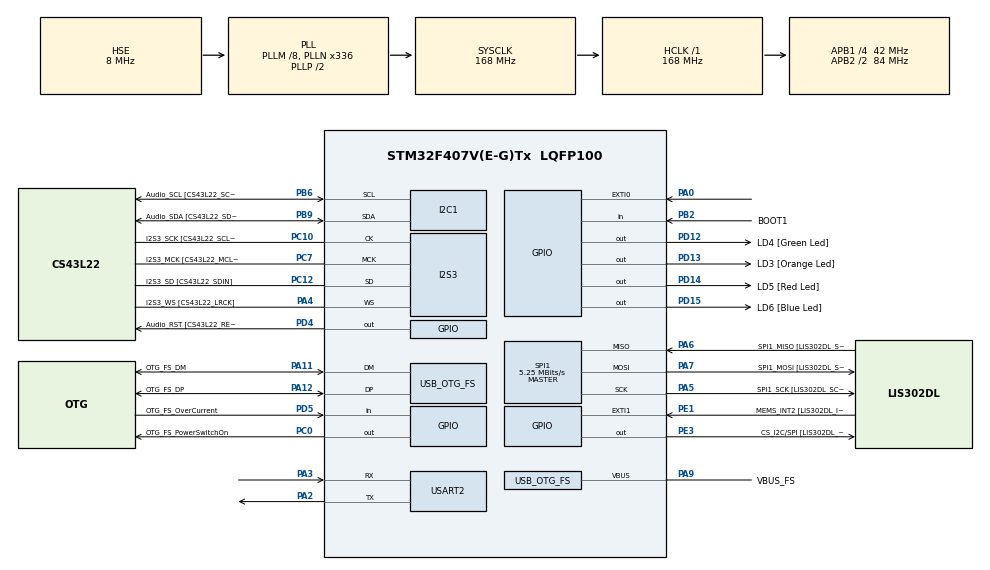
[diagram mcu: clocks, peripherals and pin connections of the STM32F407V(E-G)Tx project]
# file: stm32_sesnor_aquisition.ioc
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ADC1.Channel-2\#ChannelRegularConversion=ADC_CHANNEL_TEMPSENSOR
ADC1.NbrOfConversionFlag=1
ADC1.Rank-2\#ChannelRegularConversion=1
ADC1.SamplingTime-2\#ChannelRegularConversion=ADC_SAMPLETIME_480CYCLES
ADC1.master=1
FREERTOS.Tasks01=DisplayTask,0,512,StartDisplayTask,Default,NULL,Dynamic,NULL,NULL;SensorTask,1,256,StartTSensorTask,Default,NULL,Dynamic,NULL,NULL
I2S3.AudioFreq-Half_Duplex_Master=I2S_AUDIOFREQ_96K
I2S3.ErrorAudioFreq=-2.34 %
I2S3.ErrorAudioFreq-Half_Duplex_Master=0.8 %
I2S3.FullDuplexMode=I2S_FULLDUPLEXMODE_DISABLE
I2S3.Instance=SPI$Index
I2S3.RealAudioFreq=93.75 KHz
I2S3.RealAudioFreq-Half_Duplex_Master=96.774 KHz
I2S3.VirtualMode=I2S_MODE_MASTER
Mcu.Family=STM32F4
Mcu.Name=STM32F407V(E-G)Tx
Mcu.Package=LQFP100
NVIC.EXTI0_IRQn=true\:5\:0\:false\:false\:true\:true\:true\:true\:true
NVIC.OTG_FS_IRQn=true\:5\:0\:false\:false\:true\:true\:true\:true\:true
NVIC.PriorityGroup=NVIC_PRIORITYGROUP_4
NVIC.TIM2_IRQn=true\:5\:0\:false\:false\:true\:true\:true\:true\:true
NVIC.USART2_IRQn=true\:5\:0\:false\:false\:true\:true\:true\:true\:true
PA0-WKUP.Signal=GPXTI0
PA10.GPIO_Label=OTG_FS_ID
PA10.GPIO_Mode=GPIO_MODE_AF_PP
PA10.GPIO_PuPd=GPIO_NOPULL
PA10.GPIO_Speed=GPIO_SPEED_FREQ_LOW
PA10.Signal=USB_OTG_FS_ID
PA11.GPIO_Label=OTG_FS_DM
PA11.GPIO_Mode=GPIO_MODE_AF_PP
PA11.GPIO_PuPd=GPIO_NOPULL
PA11.GPIO_Speed=GPIO_SPEED_FREQ_LOW
PA11.Mode=Host_Only
PA11.Signal=USB_OTG_FS_DM
PA12.GPIO_Label=OTG_FS_DP
PA12.GPIO_Mode=GPIO_MODE_AF_PP
PA12.GPIO_PuPd=GPIO_NOPULL
PA12.GPIO_Speed=GPIO_SPEED_FREQ_LOW
PA12.Mode=Host_Only
PA12.Signal=USB_OTG_FS_DP
PA13.GPIO_Label=SWDIO
PA13.Mode=Serial_Wire
PA13.Signal=SYS_JTMS-SWDIO
PA14.GPIO_Label=SWCLK
PA14.Mode=Serial_Wire
PA14.Signal=SYS_JTCK-SWCLK
PA2.Mode=Asynchronous
PA2.Signal=USART2_TX
PA3.Mode=Asynchronous
PA3.Signal=USART2_RX
PA4.GPIO_Label=I2S3_WS [CS43L22_LRCK]
PA4.GPIO_Mode=GPIO_MODE_AF_PP
PA4.GPIO_PuPd=GPIO_NOPULL
PA4.GPIO_Speed=GPIO_SPEED_FREQ_LOW
PA4.Mode=Half_Duplex_Master
PA4.Signal=I2S3_WS
PA5.GPIO_Label=SPI1_SCK [LIS302DL_SCL/SPC]
PA5.GPIO_Mode=GPIO_MODE_AF_PP
PA5.GPIO_PuPd=GPIO_NOPULL
PA5.GPIO_Speed=GPIO_SPEED_FREQ_LOW
PA5.Mode=Full_Duplex_Master
PA5.Signal=SPI1_SCK
PA6.GPIO_Label=SPI1_MISO [LIS302DL_SDO]
PA6.GPIO_Mode=GPIO_MODE_AF_PP
PA6.GPIO_PuPd=GPIO_NOPULL
PA6.GPIO_Speed=GPIO_SPEED_FREQ_LOW
PA6.Mode=Full_Duplex_Master
PA6.Signal=SPI1_MISO
PA7.GPIO_Label=SPI1_MOSI [LIS302DL_SDA/SDI/SDO]
PA7.GPIO_Mode=GPIO_MODE_AF_PP
PA7.GPIO_PuPd=GPIO_NOPULL
PA7.GPIO_Speed=GPIO_SPEED_FREQ_LOW
PA7.Mode=Full_Duplex_Master
PA7.Signal=SPI1_MOSI
PA9.GPIO_Label=VBUS_FS
PA9.GPIO_Mode=GPIO_MODE_INPUT
PA9.GPIO_PuPd=GPIO_NOPULL
PA9.Mode=Activate_VBUS
PA9.Signal=USB_OTG_FS_VBUS
PB10.GPIO_Label=CLK_IN [MP45DT02_CLK]
PB10.GPIO_Mode=GPIO_MODE_AF_PP
PB10.GPIO_PuPd=GPIO_NOPULL
PB10.GPIO_Speed=GPIO_SPEED_FREQ_LOW
PB10.Signal=I2S2_CK
PB2.GPIO_Label=BOOT1
PB2.GPIO_Mode=GPIO_MODE_INPUT
PB2.GPIO_PuPd=GPIO_NOPULL
PB2.Signal=GPIO_Input
PB3.GPIO_Label=SWO
PB3.Signal=SYS_JTDO-SWO
PB6.GPIO_Label=Audio_SCL [CS43L22_SCL]
PB6.GPIO_Mode=GPIO_MODE_AF_OD
PB6.GPIO_Pu=GPIO_PULLUP
PB6.GPIO_PuPd=GPIO_NOPULL
PB6.GPIO_Speed=GPIO_SPEED_FREQ_LOW
PB6.Mode=I2C
PB6.Signal=I2C1_SCL
PB9.GPIO_Label=Audio_SDA [CS43L22_SDA]
PB9.GPIO_Mode=GPIO_MODE_AF_OD
PB9.GPIO_Pu=GPIO_PULLUP
PB9.GPIO_PuPd=GPIO_NOPULL
PB9.GPIO_Speed=GPIO_SPEED_FREQ_LOW
PB9.Mode=I2C
PB9.Signal=I2C1_SDA
PC0.GPIO_Label=OTG_FS_PowerSwitchOn
PC0.GPIO_PuPd=GPIO_NOPULL
PC0.GPIO_Speed=GPIO_SPEED_FREQ_LOW
PC0.PinState=GPIO_PIN_SET
PC0.Signal=GPIO_Output
PC10.GPIO_Label=I2S3_SCK [CS43L22_SCLK]
PC10.GPIO_Mode=GPIO_MODE_AF_PP
PC10.GPIO_PuPd=GPIO_NOPULL
PC10.GPIO_Speed=GPIO_SPEED_FREQ_LOW
PC10.Mode=Half_Duplex_Master
PC10.Signal=I2S3_CK
PC12.GPIO_Label=I2S3_SD [CS43L22_SDIN]
PC12.GPIO_Mode=GPIO_MODE_AF_PP
PC12.GPIO_PuPd=GPIO_NOPULL
PC12.GPIO_Speed=GPIO_SPEED_FREQ_LOW
PC12.Mode=Half_Duplex_Master
PC12.Signal=I2S3_SD
PC14-OSC32_IN.GPIO_Label=PC14-OSC32_IN
PC14-OSC32_IN.Mode=LSE-External-Oscillator
PC14-OSC32_IN.Signal=RCC_OSC32_IN
PC15-OSC32_OUT.GPIO_Label=PC15-OSC32_OUT
PC15-OSC32_OUT.Mode=LSE-External-Oscillator
PC15-OSC32_OUT.Signal=RCC_OSC32_OUT
PC3.GPIO_Label=PDM_OUT [MP45DT02_DOUT]
PC3.GPIO_Mode=GPIO_MODE_AF_PP
PC3.GPIO_PuPd=GPIO_NOPULL
PC3.GPIO_Speed=GPIO_SPEED_FREQ_LOW
PC3.Signal=I2S2_SD
PC7.GPIO_Label=I2S3_MCK [CS43L22_MCLK]
PC7.GPIO_Mode=GPIO_MODE_AF_PP
PC7.GPIO_PuPd=GPIO_NOPULL
PC7.GPIO_Speed=GPIO_SPEED_FREQ_LOW
PC7.Mode=Master_Clock_Activated
PC7.Signal=I2S3_MCK
PD12.GPIO_Label=LD4 [Green Led]
PD12.GPIO_PuPd=GPIO_NOPULL
PD12.GPIO_Speed=GPIO_SPEED_FREQ_LOW
PD12.Signal=GPIO_Output
PD13.GPIO_Label=LD3 [Orange Led]
PD13.GPIO_PuPd=GPIO_NOPULL
PD13.GPIO_Speed=GPIO_SPEED_FREQ_LOW
PD13.Signal=GPIO_Output
PD14.GPIO_Label=LD5 [Red Led]
PD14.GPIO_PuPd=GPIO_NOPULL
PD14.GPIO_Speed=GPIO_SPEED_FREQ_LOW
PD14.Signal=GPIO_Output
PD15.GPIO_Label=LD6 [Blue Led]
PD15.GPIO_PuPd=GPIO_NOPULL
PD15.GPIO_Speed=GPIO_SPEED_FREQ_LOW
PD15.Signal=GPIO_Output
PD4.GPIO_Label=Audio_RST [CS43L22_RESET]
PD4.GPIO_PuPd=GPIO_NOPULL
PD4.GPIO_Speed=GPIO_SPEED_FREQ_LOW
PD4.Signal=GPIO_Output
PD5.GPIO_Label=OTG_FS_OverCurrent
PD5.GPIO_Mode=GPIO_MODE_INPUT
PD5.GPIO_PuPd=GPIO_NOPULL
PD5.Signal=GPIO_Input
PE1.GPIO_Label=MEMS_INT2 [LIS302DL_INT2]
PE1.GPIO_ModeDefaultEXTI=GPIO_MODE_EVT_RISING
PE1.GPIO_PuPd=GPIO_NOPULL
PE1.Signal=GPXTI1
PE3.GPIO_Label=CS_I2C/SPI [LIS302DL_CS_I2C/SPI]
PE3.GPIO_PuPd=GPIO_NOPULL
PE3.GPIO_Speed=GPIO_SPEED_FREQ_LOW
PE3.Signal=GPIO_Output
PH0-OSC_IN.GPIO_Label=PH0-OSC_IN
PH0-OSC_IN.Mode=HSE-External-Oscillator
PH0-OSC_IN.Signal=RCC_OSC_IN
PH1-OSC_OUT.GPIO_Label=PH1-OSC_OUT
PH1-OSC_OUT.Mode=HSE-External-Oscillator
PH1-OSC_OUT.Signal=RCC_OSC_OUT
ProjectManager.HeapSize=0x200
ProjectManager.StackSize=0x400
ProjectManager.TargetToolchain=STM32CubeIDE
RCC.48MHZClocksFreq_Value=48000000
RCC.AHBFreq_Value=168000000
RCC.APB1CLKDivider=RCC_HCLK_DIV4
RCC.APB1Freq_Value=42000000
RCC.APB1TimFreq_Value=84000000
RCC.APB2CLKDivider=RCC_HCLK_DIV2
RCC.APB2Freq_Value=84000000
RCC.APB2TimFreq_Value=168000000
RCC.CortexFreq_Value=168000000
RCC.HCLKFreq_Value=168000000
RCC.HSE_VALUE=8000000
RCC.HSI_VALUE=16000000
RCC.PLLM=8
RCC.PLLN=336
RCC.PLLQ=7
RCC.SYSCLKFreq_VALUE=168000000
RCC.SYSCLKSource=RCC_SYSCLKSOURCE_PLLCLK
RCC.VCOOutputFreq_Value=336000000
SPI1.BaudRatePrescaler=SPI_BAUDRATEPRESCALER_16
SPI1.BaudRatePrescaler-Full_Duplex_Master=SPI_BAUDRATEPRESCALER_2
SPI1.CalculateBaudRate=5.25 MBits/s
SPI1.CalculateBaudRate-Full_Duplex_Master=42.0 MBits/s
SPI1.Direction=SPI_DIRECTION_2LINES
SPI1.Mode=SPI_MODE_MASTER
SPI1.Mode-Full_Duplex_Master=SPI_MODE_MASTER
SPI1.VirtualType=VM_MASTER
TIM2.Period=9999
TIM2.Prescaler=8399
USART2.VirtualMode=VM_ASYNC
USB_HOST.BSP.number=1
USB_HOST.USBH_HandleTypeDef-CDC_FS=hUsbHostFS
USB_HOST.USBH_USE_OS-CDC_FS=0
USB_HOST.VirtualModeFS=Cdc
USB_HOST0.BSP.STBoard=false
USB_HOST0.BSP.api=Unknown
USB_HOST0.BSP.instance=PC0
USB_HOST0.BSP.ip=GPIO
USB_HOST0.BSP.mode=Output
USB_HOST0.BSP.name=Drive_VBUS_FS
USB_HOST0.BSP.solution=PC0
USB_OTG_FS.VirtualMode=Host_Only
USB_OTG_FS.phy_itface=HCD_PHY_EMBEDDED
VP_ADC1_TempSens_Input.Mode=IN-TempSens
VP_FREERTOS_VS_CMSIS_V1.Mode=CMSIS_V1
VP_TIM2_VS_ClockSourceINT.Mode=Internal
VP_USB_HOST_VS_USB_HOST_CDC_FS.Mode=CDC_FS
board=STM32F407G-DISC1

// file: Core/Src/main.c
/* USER CODE BEGIN Header */
/**
  ******************************************************************************
  * @file           : main.c
  * @brief          : Main program body
  ******************************************************************************
  * @attention
  *
  * Copyright (c) 2026 STMicroelectronics.
  * All rights reserved.
  *
  * This software is licensed under terms that can be found in the LICENSE file
  * in the root directory of this software component.
  * If no LICENSE file comes with this software, it is provided AS-IS.
  *
  ******************************************************************************
  */
/* USER CODE END Header */
#include "main.h"
#include "cmsis_os.h"
#include "usb_host.h"

/* USER CODE BEGIN Includes */
#include "string.h"
#include "stdio.h"
#include "stdbool.h"
#include "cJSON.h"
/* USER CODE END Includes */

/* USER CODE BEGIN PTD */
typedef struct{
	uint32_t timestamp;
	float temperature;
	float accel_x;
	float accel_y;
	float accel_z;
	uint8_t status;
} sensor_reading_t;

#define BUFFER_SIZE 10

typedef struct{
	sensor_reading_t readings[BUFFER_SIZE];
	uint8_t head;
	uint8_t tail;
	uint8_t count;
} circular_buffer_t;
/* USER CODE END PTD */

ADC_HandleTypeDef hadc1;

I2C_HandleTypeDef hi2c1;

I2S_HandleTypeDef hi2s3;

SPI_HandleTypeDef hspi1;

TIM_HandleTypeDef htim2;

UART_HandleTypeDef huart2;

osThreadId DisplayTaskHandle;
osThreadId SensorTaskHandle;
/* USER CODE BEGIN PV */
volatile uint32_t last_button_press = 0;
volatile uint32_t seconds_elapsed = 0;
circular_buffer_t sensor_buffer;
volatile uint8_t system_status;
osMessageQId sensorQueueHandle;
/* USER CODE END PV */

void SystemClock_Config(void);
static void MX_GPIO_Init(void);
static void MX_I2C1_Init(void);
static void MX_I2S3_Init(void);
static void MX_SPI1_Init(void);
static void MX_USART2_UART_Init(void);
static void MX_TIM2_Init(void);
static void MX_ADC1_Init(void);
void StartDisplayTask(void const * argument);
void StartTSensorTask(void const * argument);

/* USER CODE BEGIN PFP */
void led_green_on(void);
void led_green_off(void);
void led_green_toggle(void);
void led_orange_on(void);
void led_orange_off(void);
void led_orange_toggle(void);
void led_red_on(void);
void led_red_off(void);
void led_red_toggle(void);
void led_blue_on(void);
void led_blue_off(void);
void led_blue_toggle(void);
void led_all_off(void);
void uart_send_string(char*str);
void HAL_TIM_PeriodElapsedCallback(TIM_HandleTypeDef *htim);
uint8_t spi_read_register(uint8_t reg_addr);
void spi_write_register(uint8_t reg_addr, uint8_t value);
void read_accelerometer(float *ax, float *ay, float *az);
float read_temperature(void);
void buffer_init(circular_buffer_t *buf);
bool buffer_is_full(circular_buffer_t *buf);
bool buffer_is_empty(circular_buffer_t *buf);
bool buffer_push(circular_buffer_t *buf, sensor_reading_t *reading);
bool buffer_pop(circular_buffer_t *buf, sensor_reading_t *reading);
/* USER CODE END PFP */

int main(void)
{

  /* MCU Configuration--------------------------------------------------------*/

  /* Reset of all peripherals, Initializes the Flash interface and the Systick. */
  HAL_Init();

  /* Configure the system clock */
  SystemClock_Config();

  /* Initialize all configured peripherals */
  MX_GPIO_Init();
  MX_I2C1_Init();
  MX_I2S3_Init();
  MX_SPI1_Init();
  MX_USART2_UART_Init();
  MX_TIM2_Init();
  MX_ADC1_Init();
  /* USER CODE BEGIN 2 */
  HAL_TIM_Base_Start_IT(&htim2);
  buffer_init(&sensor_buffer);

  uint8_t who_am_i = spi_read_register(0x0F);
  if(who_am_i == 0x3F)
  {
	  //led_green_on();
  }
  else
  {
	  //led_red_on();
  }
  spi_write_register(0x20, 0x67);

  float temp = read_temperature();
  if (temp > 5.0f && temp < 50.0f) {
      led_blue_on();
  } else {
      led_red_on();
  }
  HAL_Delay(1000);

  /* USER CODE END 2 */

  /* USER CODE BEGIN RTOS_QUEUES */
  osMessageQDef(sensorQueue, 10, sesnor_reading_t);
  sensorQueueHandle = osMessageCreate(osMessageQ(sensorQueue), NULL);
  /* USER CODE END RTOS_QUEUES */

  /* Create the thread(s) */
  /* definition and creation of DisplayTask */
  osThreadDef(DisplayTask, StartDisplayTask, osPriorityNormal, 0, 512);
  DisplayTaskHandle = osThreadCreate(osThread(DisplayTask), NULL);

  /* definition and creation of SensorTask */
  osThreadDef(SensorTask, StartTSensorTask, osPriorityAboveNormal, 0, 256);
  SensorTaskHandle = osThreadCreate(osThread(SensorTask), NULL);

  /* Start scheduler */
  osKernelStart();
  /* We should never get here as control is now taken by the scheduler */
  /* Infinite loop */
  /* USER CODE BEGIN WHILE */
  while (1)
  {
	  float ax, ay, az;
	  read_accelerometer(&ax, &ay, &az);
	  if (az > 0.8f) {
	      //led_blue_on();   // board is flat — Z near 1g
	  } else {
	      //led_blue_off();  // board is tilted
	  }
    /* USER CODE END WHILE */

  }
}

void SystemClock_Config(void)
{
  RCC_OscInitTypeDef RCC_OscInitStruct = {0};
  RCC_ClkInitTypeDef RCC_ClkInitStruct = {0};

  /** Configure the main internal regulator output voltage
  */
  __HAL_RCC_PWR_CLK_ENABLE();
  __HAL_PWR_VOLTAGESCALING_CONFIG(PWR_REGULATOR_VOLTAGE_SCALE1);

  /** Initializes the RCC Oscillators according to the specified parameters
  * in the RCC_OscInitTypeDef structure.
  */
  RCC_OscInitStruct.OscillatorType = RCC_OSCILLATORTYPE_HSE;
  RCC_OscInitStruct.HSEState = RCC_HSE_ON;
  RCC_OscInitStruct.PLL.PLLState = RCC_PLL_ON;
  RCC_OscInitStruct.PLL.PLLSource = RCC_PLLSOURCE_HSE;
  RCC_OscInitStruct.PLL.PLLM = 8;
  RCC_OscInitStruct.PLL.PLLN = 336;
  RCC_OscInitStruct.PLL.PLLP = RCC_PLLP_DIV2;
  RCC_OscInitStruct.PLL.PLLQ = 7;
  if (HAL_RCC_OscConfig(&RCC_OscInitStruct) != HAL_OK)
  {
    Error_Handler();
  }

  /** Initializes the CPU, AHB and APB buses clocks
  */
  RCC_ClkInitStruct.ClockType = RCC_CLOCKTYPE_HCLK|RCC_CLOCKTYPE_SYSCLK
                              |RCC_CLOCKTYPE_PCLK1|RCC_CLOCKTYPE_PCLK2;
  RCC_ClkInitStruct.SYSCLKSource = RCC_SYSCLKSOURCE_PLLCLK;
  RCC_ClkInitStruct.AHBCLKDivider = RCC_SYSCLK_DIV1;
  RCC_ClkInitStruct.APB1CLKDivider = RCC_HCLK_DIV4;
  RCC_ClkInitStruct.APB2CLKDivider = RCC_HCLK_DIV2;

  if (HAL_RCC_ClockConfig(&RCC_ClkInitStruct, FLASH_LATENCY_5) != HAL_OK)
  {
    Error_Handler();
  }
}

static void MX_ADC1_Init(void)
{

  ADC_ChannelConfTypeDef sConfig = {0};

  /** Configure the global features of the ADC (Clock, Resolution, Data Alignment and number of conversion)
  */
  hadc1.Instance = ADC1;
  hadc1.Init.ClockPrescaler = ADC_CLOCK_SYNC_PCLK_DIV4;
  hadc1.Init.Resolution = ADC_RESOLUTION_12B;
  hadc1.Init.ScanConvMode = DISABLE;
  hadc1.Init.ContinuousConvMode = DISABLE;
  hadc1.Init.DiscontinuousConvMode = DISABLE;
  hadc1.Init.ExternalTrigConvEdge = ADC_EXTERNALTRIGCONVEDGE_NONE;
  hadc1.Init.ExternalTrigConv = ADC_SOFTWARE_START;
  hadc1.Init.DataAlign = ADC_DATAALIGN_RIGHT;
  hadc1.Init.NbrOfConversion = 1;
  hadc1.Init.DMAContinuousRequests = DISABLE;
  hadc1.Init.EOCSelection = ADC_EOC_SINGLE_CONV;
  if (HAL_ADC_Init(&hadc1) != HAL_OK)
  {
    Error_Handler();
  }

  /** Configure for the selected ADC regular channel its corresponding rank in the sequencer and its sample time.
  */
  sConfig.Channel = ADC_CHANNEL_TEMPSENSOR;
  sConfig.Rank = 1;
  sConfig.SamplingTime = ADC_SAMPLETIME_480CYCLES;
  if (HAL_ADC_ConfigChannel(&hadc1, &sConfig) != HAL_OK)
  {
    Error_Handler();
  }

}

static void MX_I2C1_Init(void)
{

  hi2c1.Instance = I2C1;
  hi2c1.Init.ClockSpeed = 100000;
  hi2c1.Init.DutyCycle = I2C_DUTYCYCLE_2;
  hi2c1.Init.OwnAddress1 = 0;
  hi2c1.Init.AddressingMode = I2C_ADDRESSINGMODE_7BIT;
  hi2c1.Init.DualAddressMode = I2C_DUALADDRESS_DISABLE;
  hi2c1.Init.OwnAddress2 = 0;
  hi2c1.Init.GeneralCallMode = I2C_GENERALCALL_DISABLE;
  hi2c1.Init.NoStretchMode = I2C_NOSTRETCH_DISABLE;
  if (HAL_I2C_Init(&hi2c1) != HAL_OK)
  {
    Error_Handler();
  }

}

static void MX_I2S3_Init(void)
{

  hi2s3.Instance = SPI3;
  hi2s3.Init.Mode = I2S_MODE_MASTER_TX;
  hi2s3.Init.Standard = I2S_STANDARD_PHILIPS;
  hi2s3.Init.DataFormat = I2S_DATAFORMAT_16B;
  hi2s3.Init.MCLKOutput = I2S_MCLKOUTPUT_ENABLE;
  hi2s3.Init.AudioFreq = I2S_AUDIOFREQ_96K;
  hi2s3.Init.CPOL = I2S_CPOL_LOW;
  hi2s3.Init.ClockSource = I2S_CLOCK_PLL;
  hi2s3.Init.FullDuplexMode = I2S_FULLDUPLEXMODE_DISABLE;
  if (HAL_I2S_Init(&hi2s3) != HAL_OK)
  {
    Error_Handler();
  }

}

static void MX_SPI1_Init(void)
{

  /* SPI1 parameter configuration*/
  hspi1.Instance = SPI1;
  hspi1.Init.Mode = SPI_MODE_MASTER;
  hspi1.Init.Direction = SPI_DIRECTION_2LINES;
  hspi1.Init.DataSize = SPI_DATASIZE_8BIT;
  hspi1.Init.CLKPolarity = SPI_POLARITY_LOW;
  hspi1.Init.CLKPhase = SPI_PHASE_1EDGE;
  hspi1.Init.NSS = SPI_NSS_SOFT;
  hspi1.Init.BaudRatePrescaler = SPI_BAUDRATEPRESCALER_16;
  hspi1.Init.FirstBit = SPI_FIRSTBIT_MSB;
  hspi1.Init.TIMode = SPI_TIMODE_DISABLE;
  hspi1.Init.CRCCalculation = SPI_CRCCALCULATION_DISABLE;
  hspi1.Init.CRCPolynomial = 10;
  if (HAL_SPI_Init(&hspi1) != HAL_OK)
  {
    Error_Handler();
  }

}

static void MX_TIM2_Init(void)
{

  TIM_ClockConfigTypeDef sClockSourceConfig = {0};
  TIM_MasterConfigTypeDef sMasterConfig = {0};

  htim2.Instance = TIM2;
  htim2.Init.Prescaler = 8399;
  htim2.Init.CounterMode = TIM_COUNTERMODE_UP;
  htim2.Init.Period = 9999;
  htim2.Init.ClockDivision = TIM_CLOCKDIVISION_DIV1;
  htim2.Init.AutoReloadPreload = TIM_AUTORELOAD_PRELOAD_DISABLE;
  if (HAL_TIM_Base_Init(&htim2) != HAL_OK)
  {
    Error_Handler();
  }
  sClockSourceConfig.ClockSource = TIM_CLOCKSOURCE_INTERNAL;
  if (HAL_TIM_ConfigClockSource(&htim2, &sClockSourceConfig) != HAL_OK)
  {
    Error_Handler();
  }
  sMasterConfig.MasterOutputTrigger = TIM_TRGO_RESET;
  sMasterConfig.MasterSlaveMode = TIM_MASTERSLAVEMODE_DISABLE;
  if (HAL_TIMEx_MasterConfigSynchronization(&htim2, &sMasterConfig) != HAL_OK)
  {
    Error_Handler();
  }

}

static void MX_USART2_UART_Init(void)
{

  huart2.Instance = USART2;
  huart2.Init.BaudRate = 115200;
  huart2.Init.WordLength = UART_WORDLENGTH_8B;
  huart2.Init.StopBits = UART_STOPBITS_1;
  huart2.Init.Parity = UART_PARITY_NONE;
  huart2.Init.Mode = UART_MODE_TX_RX;
  huart2.Init.HwFlowCtl = UART_HWCONTROL_NONE;
  huart2.Init.OverSampling = UART_OVERSAMPLING_16;
  if (HAL_UART_Init(&huart2) != HAL_OK)
  {
    Error_Handler();
  }

}

static void MX_GPIO_Init(void)
{
  GPIO_InitTypeDef GPIO_InitStruct = {0};

  /* GPIO Ports Clock Enable */
  __HAL_RCC_GPIOE_CLK_ENABLE();
  __HAL_RCC_GPIOC_CLK_ENABLE();
  __HAL_RCC_GPIOH_CLK_ENABLE();
  __HAL_RCC_GPIOA_CLK_ENABLE();
  __HAL_RCC_GPIOB_CLK_ENABLE();
  __HAL_RCC_GPIOD_CLK_ENABLE();

  /*Configure GPIO pin Output Level */
  HAL_GPIO_WritePin(CS_I2C_SPI_GPIO_Port, CS_I2C_SPI_Pin, GPIO_PIN_RESET);

  /*Configure GPIO pin Output Level */
  HAL_GPIO_WritePin(OTG_FS_PowerSwitchOn_GPIO_Port, OTG_FS_PowerSwitchOn_Pin, GPIO_PIN_SET);

  /*Configure GPIO pin Output Level */
  HAL_GPIO_WritePin(GPIOD, LD4_Pin|LD3_Pin|LD5_Pin|LD6_Pin
                          |Audio_RST_Pin, GPIO_PIN_RESET);

  /*Configure GPIO pin : CS_I2C_SPI_Pin */
  GPIO_InitStruct.Pin = CS_I2C_SPI_Pin;
  GPIO_InitStruct.Mode = GPIO_MODE_OUTPUT_PP;
  GPIO_InitStruct.Pull = GPIO_NOPULL;
  GPIO_InitStruct.Speed = GPIO_SPEED_FREQ_LOW;
  HAL_GPIO_Init(CS_I2C_SPI_GPIO_Port, &GPIO_InitStruct);

  /*Configure GPIO pin : OTG_FS_PowerSwitchOn_Pin */
  GPIO_InitStruct.Pin = OTG_FS_PowerSwitchOn_Pin;
  GPIO_InitStruct.Mode = GPIO_MODE_OUTPUT_PP;
  GPIO_InitStruct.Pull = GPIO_NOPULL;
  GPIO_InitStruct.Speed = GPIO_SPEED_FREQ_LOW;
  HAL_GPIO_Init(OTG_FS_PowerSwitchOn_GPIO_Port, &GPIO_InitStruct);

  /*Configure GPIO pin : PDM_OUT_Pin */
  GPIO_InitStruct.Pin = PDM_OUT_Pin;
  GPIO_InitStruct.Mode = GPIO_MODE_AF_PP;
  GPIO_InitStruct.Pull = GPIO_NOPULL;
  GPIO_InitStruct.Speed = GPIO_SPEED_FREQ_LOW;
  GPIO_InitStruct.Alternate = GPIO_AF5_SPI2;
  HAL_GPIO_Init(PDM_OUT_GPIO_Port, &GPIO_InitStruct);

  /*Configure GPIO pin : PA0 */
  GPIO_InitStruct.Pin = GPIO_PIN_0;
  GPIO_InitStruct.Mode = GPIO_MODE_IT_RISING;
  GPIO_InitStruct.Pull = GPIO_NOPULL;
  HAL_GPIO_Init(GPIOA, &GPIO_InitStruct);

  /*Configure GPIO pin : BOOT1_Pin */
  GPIO_InitStruct.Pin = BOOT1_Pin;
  GPIO_InitStruct.Mode = GPIO_MODE_INPUT;
  GPIO_InitStruct.Pull = GPIO_NOPULL;
  HAL_GPIO_Init(BOOT1_GPIO_Port, &GPIO_InitStruct);

  /*Configure GPIO pin : CLK_IN_Pin */
  GPIO_InitStruct.Pin = CLK_IN_Pin;
  GPIO_InitStruct.Mode = GPIO_MODE_AF_PP;
  GPIO_InitStruct.Pull = GPIO_NOPULL;
  GPIO_InitStruct.Speed = GPIO_SPEED_FREQ_LOW;
  GPIO_InitStruct.Alternate = GPIO_AF5_SPI2;
  HAL_GPIO_Init(CLK_IN_GPIO_Port, &GPIO_InitStruct);

  /*Configure GPIO pins : LD4_Pin LD3_Pin LD5_Pin LD6_Pin
                           Audio_RST_Pin */
  GPIO_InitStruct.Pin = LD4_Pin|LD3_Pin|LD5_Pin|LD6_Pin
                          |Audio_RST_Pin;
  GPIO_InitStruct.Mode = GPIO_MODE_OUTPUT_PP;
  GPIO_InitStruct.Pull = GPIO_NOPULL;
  GPIO_InitStruct.Speed = GPIO_SPEED_FREQ_LOW;
  HAL_GPIO_Init(GPIOD, &GPIO_InitStruct);

  /*Configure GPIO pin : OTG_FS_OverCurrent_Pin */
  GPIO_InitStruct.Pin = OTG_FS_OverCurrent_Pin;
  GPIO_InitStruct.Mode = GPIO_MODE_INPUT;
  GPIO_InitStruct.Pull = GPIO_NOPULL;
  HAL_GPIO_Init(OTG_FS_OverCurrent_GPIO_Port, &GPIO_InitStruct);

  /*Configure GPIO pin : MEMS_INT2_Pin */
  GPIO_InitStruct.Pin = MEMS_INT2_Pin;
  GPIO_InitStruct.Mode = GPIO_MODE_EVT_RISING;
  GPIO_InitStruct.Pull = GPIO_NOPULL;
  HAL_GPIO_Init(MEMS_INT2_GPIO_Port, &GPIO_InitStruct);

  /* EXTI interrupt init*/
  HAL_NVIC_SetPriority(EXTI0_IRQn, 5, 0);
  HAL_NVIC_EnableIRQ(EXTI0_IRQn);

}

/* USER CODE BEGIN 4 */
void led_green_on(void)    {HAL_GPIO_WritePin(GPIOD, GPIO_PIN_12, GPIO_PIN_SET);}
void led_green_off(void)   { HAL_GPIO_WritePin(GPIOD, GPIO_PIN_12, GPIO_PIN_RESET); }
void led_green_toggle(void) {HAL_GPIO_TogglePin(GPIOD, GPIO_PIN_12);}
void led_orange_on(void)    { HAL_GPIO_WritePin(GPIOD, GPIO_PIN_13, GPIO_PIN_SET); }
void led_orange_off(void)   { HAL_GPIO_WritePin(GPIOD, GPIO_PIN_13, GPIO_PIN_RESET); }
void led_orange_toggle(void){ HAL_GPIO_TogglePin(GPIOD, GPIO_PIN_13); }

void led_red_on(void)    { HAL_GPIO_WritePin(GPIOD, GPIO_PIN_14, GPIO_PIN_SET); }
void led_red_off(void)   { HAL_GPIO_WritePin(GPIOD, GPIO_PIN_14, GPIO_PIN_RESET); }
void led_red_toggle(void){ HAL_GPIO_TogglePin(GPIOD, GPIO_PIN_14); }

void led_blue_on(void)    { HAL_GPIO_WritePin(GPIOD, GPIO_PIN_15, GPIO_PIN_SET); }
void led_blue_off(void)   { HAL_GPIO_WritePin(GPIOD, GPIO_PIN_15, GPIO_PIN_RESET); }
void led_blue_toggle(void){ HAL_GPIO_TogglePin(GPIOD, GPIO_PIN_15); }

void led_all_off(void)
{
	led_green_off();
	led_orange_off();
	led_red_off();
	led_blue_off();
}

void uart_send_string(char*str)
{
	HAL_UART_Transmit(&huart2, (uint8_t*)str, strlen(str), HAL_MAX_DELAY);
}

int _write(int file, char *ptr, int len)
{
	HAL_UART_Transmit(&huart2, (uint8_t *)ptr, len, HAL_MAX_DELAY);
	return len;
}

void HAL_GPIO_EXTI_Callback(uint16_t GPIO_Pin)
{
	if(GPIO_Pin == GPIO_PIN_0)
	{
		uint32_t now = HAL_GetTick();
		if(now-last_button_press > 200)
		{
			last_button_press = now;
			led_green_toggle();
		}
	}
}

void HAL_TIM_PeriodElapsedCallback(TIM_HandleTypeDef *htim)
{
	if(htim->Instance == TIM2)
	{
		seconds_elapsed++;
		led_orange_toggle();

        sensor_reading_t reading;
        reading.timestamp = HAL_GetTick();
        reading.temperature = read_temperature();
        read_accelerometer(&reading.accel_x, &reading.accel_y, &reading.accel_z);
        reading.status = 0;

        buffer_push(&sensor_buffer, &reading);
		}
}

uint8_t spi_read_register(uint8_t reg_addr)
{
	uint8_t tx_byte = reg_addr | 0x80;
	uint8_t rx_byte = 0;

	HAL_GPIO_WritePin(GPIOE, GPIO_PIN_3, GPIO_PIN_RESET);
	HAL_SPI_Transmit(&hspi1, &tx_byte, 1, HAL_MAX_DELAY);
	HAL_SPI_Receive(&hspi1, &rx_byte, 1, HAL_MAX_DELAY);
	HAL_GPIO_WritePin(GPIOE, GPIO_PIN_3, GPIO_PIN_SET);

	return rx_byte;
}

void spi_write_register(uint8_t reg_addr, uint8_t value)
{
	uint8_t tx_data[2];
	tx_data[0] = reg_addr;
	tx_data[1] = value;

	HAL_GPIO_WritePin(GPIOE, GPIO_PIN_3, GPIO_PIN_RESET);
	HAL_SPI_Transmit(&hspi1, tx_data, 2, HAL_MAX_DELAY);
	HAL_GPIO_WritePin(GPIOE, GPIO_PIN_3, GPIO_PIN_SET);
}

void read_accelerometer(float *ax, float *ay, float *az)
{
	int16_t raw_x, raw_y, raw_z;

	uint8_t xl = spi_read_register(0x28);
	uint8_t xh = spi_read_register(0x29);
	uint8_t yl = spi_read_register(0x2A);
	uint8_t yh = spi_read_register(0x2B);
	uint8_t zl = spi_read_register(0x2C);
	uint8_t zh = spi_read_register(0x2D);

	raw_x = (int16_t)((xh<<8) | xl);
	raw_y = (int16_t)((yh<<8) | yl);
	raw_z = (int16_t)((zh<<8) | zl);

    *ax = (float)raw_x * 0.061f / 1000.0f;
    *ay = (float)raw_y * 0.061f / 1000.0f;
    *az = (float)raw_z * 0.061f / 1000.0f;

}

float read_temperature(void)
{
	HAL_ADC_Start(&hadc1);
	HAL_ADC_PollForConversion(&hadc1, HAL_MAX_DELAY);
	uint32_t raw_adc = HAL_ADC_GetValue(&hadc1);
	HAL_ADC_Stop(&hadc1);

	float voltage = (float)raw_adc * 3.3f/4096.0f;
	float temperature = ((voltage-0.76f)/0.0025f) + 25.0f;
    // Calibration offset — internal sensor reads ~35°C higher than actual
    temperature -= 35.0f;
	return temperature;
}

void buffer_init(circular_buffer_t *buf)
{
	buf->head = 0;
	buf->tail = 0;
	buf->count = 0;
}

bool buffer_is_full(circular_buffer_t *buf)
{
	return (buf->count == BUFFER_SIZE);
}

bool buffer_is_empty(circular_buffer_t *buf)
{
	return(buf->count == 0);
}

bool buffer_push(circular_buffer_t *buf, sensor_reading_t *reading)
{
	buf->readings[buf->head] = *reading;
	buf->head = (buf->head+1) % BUFFER_SIZE;
	if(buf->count == BUFFER_SIZE)
	{
		buf->tail = (buf->tail+1) % BUFFER_SIZE;
	}
	else
	{
		buf->count++;
	}
	return true;
}

bool buffer_pop(circular_buffer_t *buf, sensor_reading_t *reading)
{
	if (buffer_is_empty(buf)){return false;}

	*reading = buf->readings[buf->tail];
	buf->tail = (buf->tail + 1) % BUFFER_SIZE;
	buf->count--;
	return true;
}
/* USER CODE END 4 */

void StartDisplayTask(void const * argument)
{
  /* init code for USB_HOST */
  MX_USB_HOST_Init();
  /* USER CODE BEGIN 5 */
  osDelay(200);
  /* Infinite loop */
  for(;;)
  {
	  osEvent event = osMessageGet(sensorQueueHandle, osWaitForever);

	  if(event.status == osEventMessage)
	  {
		  sensor_reading_t *reading = (sensor_reading_t *)event.value.p;
          char msg[150];
          sprintf(msg, "T:%lu  X:%.2f  Y:%.2f  Z:%.2f  Temp:%.1f  Status:0x%02X\r\n",
                  reading->timestamp,
                  reading->accel_x, reading->accel_y, reading->accel_z,
                  reading->temperature,
                  reading->status);
          HAL_UART_Transmit(&huart2, (uint8_t *)msg, strlen(msg), HAL_MAX_DELAY);
	  }

    osDelay(1);
  }
  /* USER CODE END 5 */
}

void StartTSensorTask(void const * argument)
{
  /* USER CODE BEGIN StartTSensorTask */

	osDelay(100);
	  uint8_t who_am_i = spi_read_register(0x0F);
	  if (who_am_i == 0x3F) {
	      status_set(STATUS_ACCEL_OK);
	      spi_write_register(0x20, 0x67);
	  } else {
	      status_set(STATUS_SPI_ERROR);
	  }

	  float temp = read_temperature();
	  if (temp > 5.0f && temp < 50.0f) {
	      status_set(STATUS_TEMP_OK);
	  }

	  update_status_leds();

  /* Infinite loop */
  for(;;)
  {
      sensor_reading_t reading;
      reading.timestamp = HAL_GetTick();
      reading.temperature = read_temperature();
      read_accelerometer(&reading.accel_x, &reading.accel_y, &reading.accel_z);
      reading.status = system_status;

      osMessagePut(sensorQueueHandle, (uint8_t)&reading, 100);

      led_blue_on();
      osDelay(50);
      led_blue_off();

    osDelay(950);
  }
  /* USER CODE END StartTSensorTask */
}

void Error_Handler(void)
{
  __disable_irq();
  while (1)
  {
  }
}
